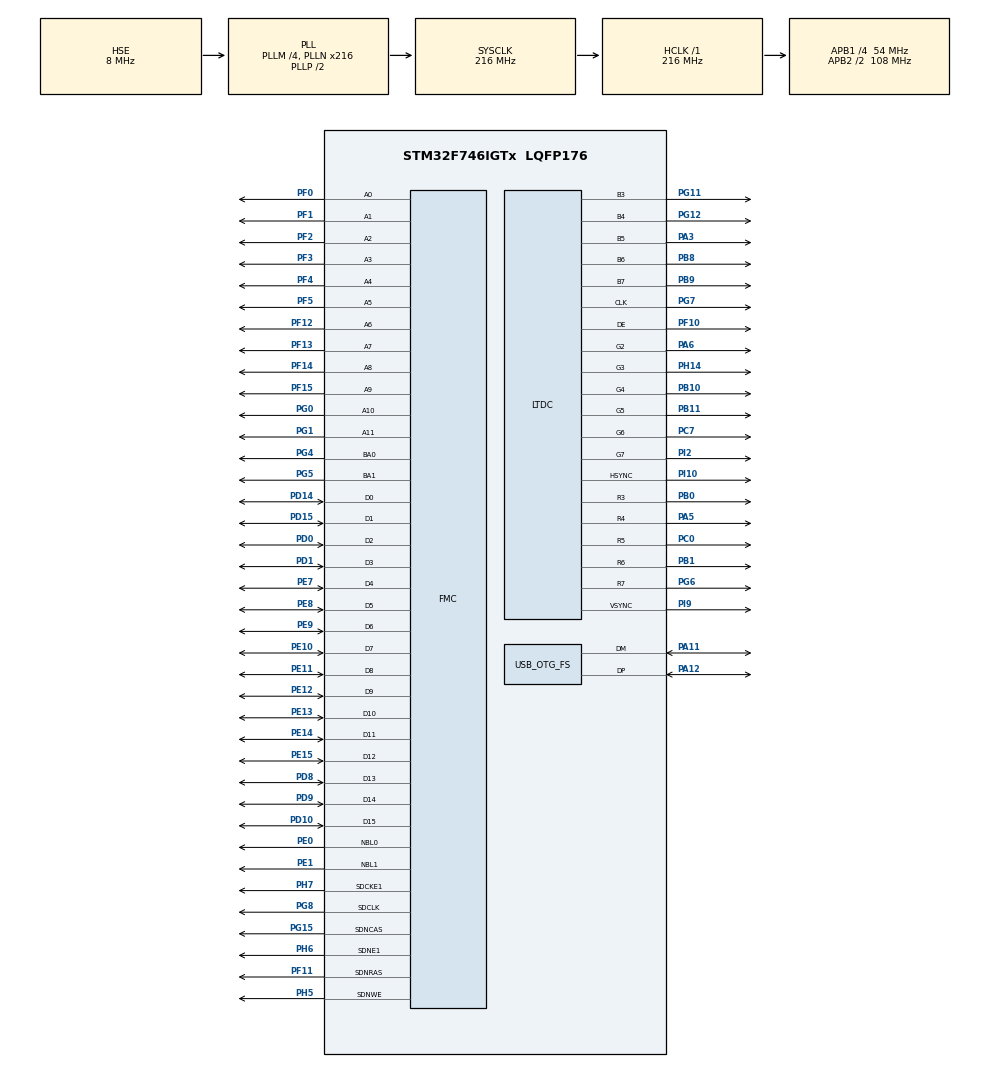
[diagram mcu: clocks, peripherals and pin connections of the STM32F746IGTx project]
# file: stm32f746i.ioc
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CORTEX_M7.AccessPermission-Cortex_Memory_Protection_Unit_Region0_Settings=MPU_REGION_FULL_ACCESS
CORTEX_M7.BaseAddress-Cortex_Memory_Protection_Unit_Region0_Settings=0xD0000000
CORTEX_M7.CPU_DCache=Enabled
CORTEX_M7.CPU_ICache=Enabled
CORTEX_M7.DisableExec-Cortex_Memory_Protection_Unit_Region0_Settings=MPU_INSTRUCTION_ACCESS_DISABLE
CORTEX_M7.Enable-Cortex_Memory_Protection_Unit_Region0_Settings=MPU_REGION_ENABLE
CORTEX_M7.IsBufferable-Cortex_Memory_Protection_Unit_Region0_Settings=MPU_ACCESS_BUFFERABLE
CORTEX_M7.IsCacheable-Cortex_Memory_Protection_Unit_Region0_Settings=MPU_ACCESS_CACHEABLE
CORTEX_M7.IsShareable-Cortex_Memory_Protection_Unit_Region0_Settings=MPU_ACCESS_SHAREABLE
CORTEX_M7.MPU_Control=MPU_HFNMI_PRIVDEF
CORTEX_M7.Size-Cortex_Memory_Protection_Unit_Region0_Settings=MPU_REGION_SIZE_8MB
Dma.MEMTOMEM.0.Direction=DMA_MEMORY_TO_MEMORY
Dma.MEMTOMEM.0.FIFOMode=DMA_FIFOMODE_ENABLE
Dma.MEMTOMEM.0.FIFOThreshold=DMA_FIFO_THRESHOLD_FULL
Dma.MEMTOMEM.0.Instance=DMA2_Stream0
Dma.MEMTOMEM.0.MemBurst=DMA_MBURST_SINGLE
Dma.MEMTOMEM.0.MemDataAlignment=DMA_MDATAALIGN_WORD
Dma.MEMTOMEM.0.MemInc=DMA_MINC_ENABLE
Dma.MEMTOMEM.0.Mode=DMA_NORMAL
Dma.MEMTOMEM.0.PeriphBurst=DMA_PBURST_SINGLE
Dma.MEMTOMEM.0.PeriphDataAlignment=DMA_PDATAALIGN_WORD
Dma.MEMTOMEM.0.PeriphInc=DMA_PINC_ENABLE
Dma.MEMTOMEM.0.Priority=DMA_PRIORITY_HIGH
Dma.Request0=MEMTOMEM
FATFS._FS_LOCK=1
FATFS._FS_MINIMIZE=3
FATFS._USE_FASTSEEK=0
FATFS._USE_LABEL=1
FATFS._USE_STRFUNC=0
FMC.CASLatency1=FMC_SDRAM_CAS_LATENCY_2
FMC.ExitSelfRefreshDelay1=7
FMC.LoadToActiveDelay1=2
FMC.RCDDelay1=2
FMC.RPDelay1=2
FMC.ReadBurst1=FMC_SDRAM_RBURST_ENABLE
FMC.ReadBurst2=FMC_SDRAM_RBURST_ENABLE
FMC.ReadPipeDelay1=FMC_SDRAM_RPIPE_DELAY_1
FMC.ReadPipeDelay2=FMC_SDRAM_RPIPE_DELAY_1
FMC.RowBitsNumber1=FMC_SDRAM_ROW_BITS_NUM_12
FMC.RowCycleDelay1=6
FMC.RowCycleDelay2=6
FMC.SDClockPeriod1=FMC_SDRAM_CLOCK_PERIOD_2
FMC.SelfRefreshTime1=4
FMC.WriteRecoveryTime1=2
LTDC.ActiveH=400
LTDC.ActiveW=720
LTDC.Alpha0_L0=0xFF
LTDC.Alpha_L0=0xFF
LTDC.BlendingFactor1_L0=LTDC_BLENDING_FACTOR1_PAxCA
LTDC.BlendingFactor2_L0=LTDC_BLENDING_FACTOR2_PAxCA
LTDC.Blue=0
LTDC.Blue_L0=0xFF
LTDC.DEPolarity=LTDC_DEPOLARITY_AH
LTDC.FBStartAdress_L0=VideoRamAddress
LTDC.Green=0
LTDC.Green_L0=0
LTDC.HBP=57
LTDC.HFP=15
LTDC.HSPolarity=LTDC_HSPOLARITY_AH
LTDC.HSync=108
LTDC.ImageHeight_L0=200
LTDC.ImageWidth_L0=200
LTDC.Layers=0
LTDC.PixelFormat_L0=LTDC_PIXEL_FORMAT_L8
LTDC.Red=0
LTDC.Red_L0=0
LTDC.VBP=36
LTDC.VFP=11
LTDC.VSPolarity=LTDC_VSPOLARITY_AH
LTDC.VSync=2
LTDC.WindowX0_L0=199
LTDC.WindowX1_L0=399
LTDC.WindowY0_L0=199
LTDC.WindowY1_L0=399
Mcu.Family=STM32F7
Mcu.Name=STM32F746IGTx
Mcu.Package=LQFP176
NVIC.OTG_FS_IRQn=true\:0\:0\:false\:false\:true\:false\:true\:true
NVIC.PriorityGroup=NVIC_PRIORITYGROUP_4
PA11.Mode=Device_Only
PA11.Signal=USB_OTG_FS_DM
PA12.Mode=Device_Only
PA12.Signal=USB_OTG_FS_DP
PA3.Mode=RGB565
PA3.Signal=LTDC_B5
PA5.Mode=RGB565
PA5.Signal=LTDC_R4
PA6.Mode=RGB565
PA6.Signal=LTDC_G2
PB0.Mode=RGB565
PB0.Signal=LTDC_R3
PB1.Mode=RGB565
PB1.Signal=LTDC_R6
PB10.Mode=RGB565
PB10.Signal=LTDC_G4
PB11.Mode=RGB565
PB11.Signal=LTDC_G5
PB8.Mode=RGB565
PB8.Signal=LTDC_B6
PB9.Mode=RGB565
PB9.Signal=LTDC_B7
PC0.Mode=RGB565
PC0.Signal=LTDC_R5
PC7.Mode=RGB565
PC7.Signal=LTDC_G6
PD0.Signal=FMC_D2_DA2
PD1.Signal=FMC_D3_DA3
PD10.Signal=FMC_D15_DA15
PD14.Signal=FMC_D0_DA0
PD15.Signal=FMC_D1_DA1
PD8.Signal=FMC_D13_DA13
PD9.Signal=FMC_D14_DA14
PE0.Signal=FMC_NBL0
PE1.Signal=FMC_NBL1
PE10.Signal=FMC_D7_DA7
PE11.Signal=FMC_D8_DA8
PE12.Signal=FMC_D9_DA9
PE13.Signal=FMC_D10_DA10
PE14.Signal=FMC_D11_DA11
PE15.Signal=FMC_D12_DA12
PE7.Signal=FMC_D4_DA4
PE8.Signal=FMC_D5_DA5
PE9.Signal=FMC_D6_DA6
PF0.Signal=FMC_A0
PF1.Signal=FMC_A1
PF10.Mode=RGB565
PF10.Signal=LTDC_DE
PF11.Signal=FMC_SDNRAS
PF12.Signal=FMC_A6
PF13.Signal=FMC_A7
PF14.Signal=FMC_A8
PF15.Signal=FMC_A9
PF2.Signal=FMC_A2
PF3.Signal=FMC_A3
PF4.Signal=FMC_A4
PF5.Signal=FMC_A5
PG0.Signal=FMC_A10
PG1.Signal=FMC_A11
PG11.Mode=RGB565
PG11.Signal=LTDC_B3
PG12.Mode=RGB565
PG12.Signal=LTDC_B4
PG15.Signal=FMC_SDNCAS
PG4.Signal=FMC_A14_BA0
PG5.Signal=FMC_A15_BA1
PG6.Mode=RGB565
PG6.Signal=LTDC_R7
PG7.Mode=RGB565
PG7.Signal=LTDC_CLK
PG8.Signal=FMC_SDCLK
PH0/OSC_IN.Mode=HSE-External-Oscillator
PH0/OSC_IN.Signal=RCC_OSC_IN
PH1/OSC_OUT.Mode=HSE-External-Oscillator
PH1/OSC_OUT.Signal=RCC_OSC_OUT
PH14.Mode=RGB565
PH14.Signal=LTDC_G3
PH5.Signal=FMC_SDNWE
PH6.Mode=SdramChipSelect2_1
PH6.Signal=FMC_SDNE1
PH7.Mode=SdramChipSelect2_1
PH7.Signal=FMC_SDCKE1
PI10.Mode=RGB565
PI10.Signal=LTDC_HSYNC
PI2.Mode=RGB565
PI2.Signal=LTDC_G7
PI9.Mode=RGB565
PI9.Signal=LTDC_VSYNC
ProjectManager.HeapSize=0x200
ProjectManager.StackSize=0x400
ProjectManager.TargetToolchain=STM32CubeIDE
RCC.AHBFreq_Value=216000000
RCC.APB1CLKDivider=RCC_HCLK_DIV4
RCC.APB1Freq_Value=54000000
RCC.APB1TimFreq_Value=108000000
RCC.APB2CLKDivider=RCC_HCLK_DIV2
RCC.APB2Freq_Value=108000000
RCC.APB2TimFreq_Value=216000000
RCC.CortexFreq_Value=216000000
RCC.HCLKFreq_Value=216000000
RCC.HSE_VALUE=8000000
RCC.HSI_VALUE=16000000
RCC.LSE_VALUE=32768
RCC.PLLM=4
RCC.PLLN=216
RCC.PLLQ=9
RCC.PLLSAIN=85
RCC.PLLSAIR=3
RCC.SYSCLKFreq_VALUE=216000000
RCC.SYSCLKSource=RCC_SYSCLKSOURCE_PLLCLK
RCC.USBFreq_Value=48000000
RCC.VCOOutputFreq_Value=432000000
SH.FMC_A0.0=FMC_A0,12b-sda1
SH.FMC_A1.0=FMC_A1,12b-sda1
SH.FMC_A10.0=FMC_A10,12b-sda1
SH.FMC_A11.0=FMC_A11,12b-sda1
SH.FMC_A14_BA0.0=FMC_BA0,FourSdramBanks1
SH.FMC_A15_BA1.0=FMC_BA1,FourSdramBanks1
SH.FMC_A2.0=FMC_A2,12b-sda1
SH.FMC_A3.0=FMC_A3,12b-sda1
SH.FMC_A4.0=FMC_A4,12b-sda1
SH.FMC_A5.0=FMC_A5,12b-sda1
SH.FMC_A6.0=FMC_A6,12b-sda1
SH.FMC_A7.0=FMC_A7,12b-sda1
SH.FMC_A8.0=FMC_A8,12b-sda1
SH.FMC_A9.0=FMC_A9,12b-sda1
SH.FMC_D0_DA0.0=FMC_D0,sd-16b-d1
SH.FMC_D10_DA10.0=FMC_D10,sd-16b-d1
SH.FMC_D11_DA11.0=FMC_D11,sd-16b-d1
SH.FMC_D12_DA12.0=FMC_D12,sd-16b-d1
SH.FMC_D13_DA13.0=FMC_D13,sd-16b-d1
SH.FMC_D14_DA14.0=FMC_D14,sd-16b-d1
SH.FMC_D15_DA15.0=FMC_D15,sd-16b-d1
SH.FMC_D1_DA1.0=FMC_D1,sd-16b-d1
SH.FMC_D2_DA2.0=FMC_D2,sd-16b-d1
SH.FMC_D3_DA3.0=FMC_D3,sd-16b-d1
SH.FMC_D4_DA4.0=FMC_D4,sd-16b-d1
SH.FMC_D5_DA5.0=FMC_D5,sd-16b-d1
SH.FMC_D6_DA6.0=FMC_D6,sd-16b-d1
SH.FMC_D7_DA7.0=FMC_D7,sd-16b-d1
SH.FMC_D8_DA8.0=FMC_D8,sd-16b-d1
SH.FMC_D9_DA9.0=FMC_D9,sd-16b-d1
SH.FMC_NBL0.0=FMC_NBL0,Sd2ByteEnable1
SH.FMC_NBL1.0=FMC_NBL1,Sd2ByteEnable1
SH.FMC_SDCLK.0=FMC_SDCLK,12b-sda1
SH.FMC_SDNCAS.0=FMC_SDNCAS,12b-sda1
SH.FMC_SDNRAS.0=FMC_SDNRAS,12b-sda1
SH.FMC_SDNWE.0=FMC_SDNWE,12b-sda1
USB_DEVICE.CLASS_NAME_FS=MSC
USB_DEVICE.VirtualMode-MSC_FS=Msc
USB_DEVICE.VirtualModeFS=Msc_FS
USB_OTG_FS.VirtualMode=Device_Only
VP_FATFS_VS_FMC_SDRAM.Mode=FMC_SDRAM
VP_USB_DEVICE_VS_USB_DEVICE_MSC_FS.Mode=MSC_FS
board=STM32F746I

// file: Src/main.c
/* USER CODE BEGIN Header */
/**
  ******************************************************************************
  * @file           : main.c
  * @brief          : Main program body
  ******************************************************************************
  * @attention
  *
  * <h2><center>&copy; Copyright (c) 2019 STMicroelectronics.
  * All rights reserved.</center></h2>
  *
  * This software component is licensed by ST under Ultimate Liberty license
  * SLA0044, the "License"; You may not use this file except in compliance with
  * the License. You may obtain a copy of the License at:
  *                             www.st.com/SLA0044
  *
  ******************************************************************************
  */
/* USER CODE END Header */
#include "main.h"
#include "dma.h"
#include "fatfs.h"
#include "ltdc.h"
#include "usb_device.h"
#include "gpio.h"
#include "fmc.h"

/* USER CODE BEGIN PD */
uint32_t L8Clut[256];
uint8_t VideoRam[720 * 400]; //(uint8_t*)VideoRamAddress;
uint32_t VideoRamAddress = (uint32_t)VideoRam;
/* USER CODE END PD */

void SystemClock_Config(void);
static void MPU_Config(void);

int main(void)
{

  /* USER CODE BEGIN 1 */
	for (uint32_t i = 0; i < 256; i++)
	{
		// xxBBGGRR > ARBG
		uint32_t a = 0xff000000;

		uint8_t paletteR = i & 0x0003;
		uint32_t r = 85 * paletteR;
		r <<= 16;

		uint8_t paletteG = i & 0x000C;
		paletteG >>= 2;
		uint32_t g = 85 * paletteG;
		g <<= 8;

		uint8_t paletteB = i & 0x0030;
		paletteB >>= 4;
		uint32_t b = 85 * paletteB;

		L8Clut[i] = a | r | g | b;
	}
  /* USER CODE END 1 */

  /* MPU Configuration--------------------------------------------------------*/
  MPU_Config();

  /* Enable the CPU Cache */

  /* Enable I-Cache---------------------------------------------------------*/
  SCB_EnableICache();

  /* Enable D-Cache---------------------------------------------------------*/
  SCB_EnableDCache();

  /* MCU Configuration--------------------------------------------------------*/

  /* Reset of all peripherals, Initializes the Flash interface and the Systick. */
  HAL_Init();

  /* Configure the system clock */
  SystemClock_Config();

  /* Initialize all configured peripherals */
  MX_GPIO_Init();
  MX_DMA_Init();
  MX_FMC_Init();
  MX_USB_DEVICE_Init();
  MX_FATFS_Init();
  MX_LTDC_Init();
  /* USER CODE BEGIN 2 */

  HAL_LTDC_ConfigCLUT(&hltdc, L8Clut, 256, LTDC_LAYER_1);
  HAL_LTDC_EnableCLUT(&hltdc, LTDC_LAYER_1);

	// Bit    7  6  5  4  3  2  1  0
	// Data   R  R  R  G  G  G  B  B
	memset(VideoRam               , 0x10, 200 * 40);
	memset(VideoRam + 200 * 40 * 1, 0x03, 200 * 40); // red
	memset(VideoRam + 200 * 40 * 2, 0x0C, 200 * 40); // green
	memset(VideoRam + 200 * 40 * 3, 0x30, 200 * 40); // blue
	memset(VideoRam + 200 * 40 * 4, 0x3F, 200 * 40);
	//HAL_LTDC_ConfigCLUT
	//HAL_LTDC_EnableCLUT

  //DMA2D_CLUTCfgTypeDef CLUTCfg;
  //CLUTCfg.CLUTColorMode = DMA2D_CCM_ARGB8888;
  //CLUTCfg.pCLUT = (uint32_t *)L8_CLUT_1;
  //CLUTCfg.Size = 255;

	//f_mount(&SDRAMDISKFatFS, SDRAMDISKPath, 0);
	//char buf[512];
	//f_mkfs(SDRAMDISKPath, FM_FAT, 512, buf, sizeof(buf));
	//f_setlabel("RAM DRIVE");
	//f_mount(NULL, SDRAMDISKPath, 1);
  //memset((void*)0xD0000000, 1280 * 720 * 4, 0xFF);
  /* USER CODE END 2 */

  /* Infinite loop */
  while (1)
  {

  }
}

void SystemClock_Config(void)
{
  RCC_OscInitTypeDef RCC_OscInitStruct = {0};
  RCC_ClkInitTypeDef RCC_ClkInitStruct = {0};

  /** Configure the main internal regulator output voltage
  */
  __HAL_RCC_PWR_CLK_ENABLE();
  __HAL_PWR_VOLTAGESCALING_CONFIG(PWR_REGULATOR_VOLTAGE_SCALE1);

  /** Initializes the RCC Oscillators according to the specified parameters
  * in the RCC_OscInitTypeDef structure.
  */
  RCC_OscInitStruct.OscillatorType = RCC_OSCILLATORTYPE_HSE;
  RCC_OscInitStruct.HSEState = RCC_HSE_ON;
  RCC_OscInitStruct.PLL.PLLState = RCC_PLL_ON;
  RCC_OscInitStruct.PLL.PLLSource = RCC_PLLSOURCE_HSE;
  RCC_OscInitStruct.PLL.PLLM = 4;
  RCC_OscInitStruct.PLL.PLLN = 216;
  RCC_OscInitStruct.PLL.PLLP = RCC_PLLP_DIV2;
  RCC_OscInitStruct.PLL.PLLQ = 9;
  if (HAL_RCC_OscConfig(&RCC_OscInitStruct) != HAL_OK)
  {
    Error_Handler();
  }

  /** Activate the Over-Drive mode
  */
  if (HAL_PWREx_EnableOverDrive() != HAL_OK)
  {
    Error_Handler();
  }

  /** Initializes the CPU, AHB and APB buses clocks
  */
  RCC_ClkInitStruct.ClockType = RCC_CLOCKTYPE_HCLK|RCC_CLOCKTYPE_SYSCLK
                              |RCC_CLOCKTYPE_PCLK1|RCC_CLOCKTYPE_PCLK2;
  RCC_ClkInitStruct.SYSCLKSource = RCC_SYSCLKSOURCE_PLLCLK;
  RCC_ClkInitStruct.AHBCLKDivider = RCC_SYSCLK_DIV1;
  RCC_ClkInitStruct.APB1CLKDivider = RCC_HCLK_DIV4;
  RCC_ClkInitStruct.APB2CLKDivider = RCC_HCLK_DIV2;

  if (HAL_RCC_ClockConfig(&RCC_ClkInitStruct, FLASH_LATENCY_7) != HAL_OK)
  {
    Error_Handler();
  }
}

 /* MPU Configuration */

void MPU_Config(void)
{
  MPU_Region_InitTypeDef MPU_InitStruct = {0};

  /* Disables the MPU */
  HAL_MPU_Disable();

  /** Initializes and configures the Region and the memory to be protected
  */
  MPU_InitStruct.Enable = MPU_REGION_ENABLE;
  MPU_InitStruct.Number = MPU_REGION_NUMBER0;
  MPU_InitStruct.BaseAddress = 0xD0000000;
  MPU_InitStruct.Size = MPU_REGION_SIZE_8MB;
  MPU_InitStruct.SubRegionDisable = 0x0;
  MPU_InitStruct.TypeExtField = MPU_TEX_LEVEL0;
  MPU_InitStruct.AccessPermission = MPU_REGION_FULL_ACCESS;
  MPU_InitStruct.DisableExec = MPU_INSTRUCTION_ACCESS_DISABLE;
  MPU_InitStruct.IsShareable = MPU_ACCESS_SHAREABLE;
  MPU_InitStruct.IsCacheable = MPU_ACCESS_CACHEABLE;
  MPU_InitStruct.IsBufferable = MPU_ACCESS_BUFFERABLE;

  HAL_MPU_ConfigRegion(&MPU_InitStruct);
  /* Enables the MPU */
  HAL_MPU_Enable(MPU_HFNMI_PRIVDEF);

}

void Error_Handler(void)
{
}
